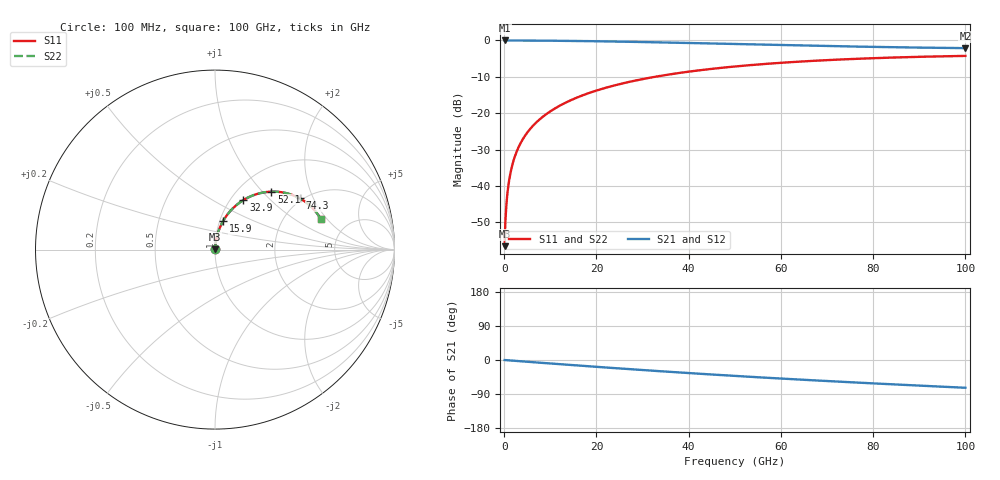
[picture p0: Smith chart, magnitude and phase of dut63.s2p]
! Touchstone file exported from HFSS 2026.1.0
!  File:  C:/ffzhzh/LocalFiles/Ansys_Project_Files/temp_train_RDL_63_1783498497_55944.aedt
!  Generated:  04:16:00 PM Jul  8, 2026
!  Design:  RDL
!  Project:  temp_train_RDL_63_1783498497_55944
! Variables:
!  h_bsmrdl = 2um
!  h_ox = 20um
!  h_rdl = 5um
!  h_sub = 80um
!  h_tmrdl = 4.53um
!  h_tsv = 80um
!  h_via = 3um
!  l_bsmrdl = 300um
!  l_sub = 601.95um
!  l_tmrdl = 201.95um
!  m_sub = 200um
!  pitch = 56.98um
!  r_tsv = 6um
!  s_tmrdl = 10um
!  w_bsmrdl = 18um
!  w_sub = 500um
!  w_tmrdl = 20.17um
!  x_tsv_center1 = 212.035um
!  x_tsv_center2 = 530.035um
!  x_tsv_center3 = 752.155um
!  x_tsv_center4 = 1070.155um
!  x_tsv_center5 = 1292.275um
!  x_tsv_center6 = 1610.275um
# GHz S MA R 50.000000
! Terminal data exported
! Port[1] = TM_RDL1_1_T1
! Port[2] = TM_RDL1_1_T2
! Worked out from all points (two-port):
!   1000 points, 100 MHz to 100 GHz, reference 50 ohm
!   highest |S21| = -0.01 dB at 100 MHz (marker M1); lowest = -2.1 dB at 100 GHz (marker M2)
!   |S21| within 3 dB of the highest: start of sweep to end of sweep
!   lowest |S11| = -56.5 dB at 100 MHz (marker M3), VSWR 1.00, Z = 50.1 + j0.116 ohm
!   |S11| at or under -10 dB: start of sweep to 32.69 GHz
!   |S22| runs from -56.5 to -4.3 dB; largest |S21 - S12| = 3.5e-15
!   S11 on the Smith chart (normalised r, x): 100 MHz: 1.00, +0.00; 15.9 GHz: 1.04, +0.34; 32.9 GHz: 1.15, +0.70; 52.1 GHz: 1.39, +1.12; 74.3 GHz: 1.93, +1.59; 100 GHz: 3.14, +1.72
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0.1  0.00149 50.9  0.9991 -0.1  0.9991 -0.1  0.00149 50.9
! Gamma 0 0 0 0
! Port Impedance 50 0 50 0
0.4  0.004606 76.4  0.9989 -0.4  0.9989 -0.4  0.004606 76.4
0.8  0.008909 82.0  0.9988 -0.8  0.9988 -0.8  0.008909 82.0
1  0.01108 83.1  0.9988 -0.9  0.9988 -0.9  0.01108 83.1
1.3  0.01434 84.0  0.9987 -1.2  0.9987 -1.2  0.01434 84.0
1.7  0.01868 84.5  0.9986 -1.6  0.9986 -1.6  0.01868 84.5
2.3  0.02519 84.7  0.9983 -2.2  0.9983 -2.2  0.02519 84.7
3.7  0.04025 84.1  0.9974 -3.4  0.9974 -3.4  0.04025 84.1
5.7  0.06144 82.6  0.9958 -5.3  0.9958 -5.3  0.06144 82.6
8.4  0.08956 80.4  0.9931 -7.7  0.9931 -7.7  0.08956 80.4
11.8  0.1243 77.6  0.9888 -10.8  0.9888 -10.8  0.1243 77.6
15.9  0.1651 74.2  0.9822 -14.4  0.9822 -14.4  0.1652 74.2
16.8  0.1739 73.4  0.9806 -15.2  0.9806 -15.2  0.1739 73.4
24  0.2417 67.4  0.9655 -21.5  0.9655 -21.5  0.2417 67.4
32.9  0.318 60.2  0.9426 -28.8  0.9426 -28.8  0.318 60.2
33.4  0.322 59.8  0.9412 -29.2  0.9412 -29.2  0.322 59.8
50.1  0.4389 47.2  0.8924 -42.0  0.8924 -42.0  0.4389 47.2
52.1  0.4507 45.8  0.8865 -43.5  0.8865 -43.5  0.4507 45.8
66.7  0.523 35.9  0.846 -53.4  0.846 -53.4  0.523 36.0
74.3  0.5519 31.2  0.8275 -58.2  0.8275 -58.2  0.552 31.2
83.4  0.5796 25.7  0.8085 -63.7  0.8085 -63.7  0.5796 25.7
100  0.6127 16.3  0.7837 -73.3  0.7837 -73.3  0.6127 16.3
